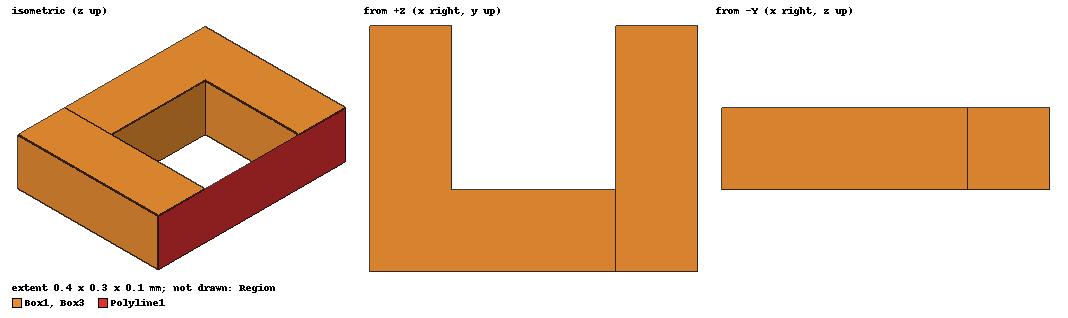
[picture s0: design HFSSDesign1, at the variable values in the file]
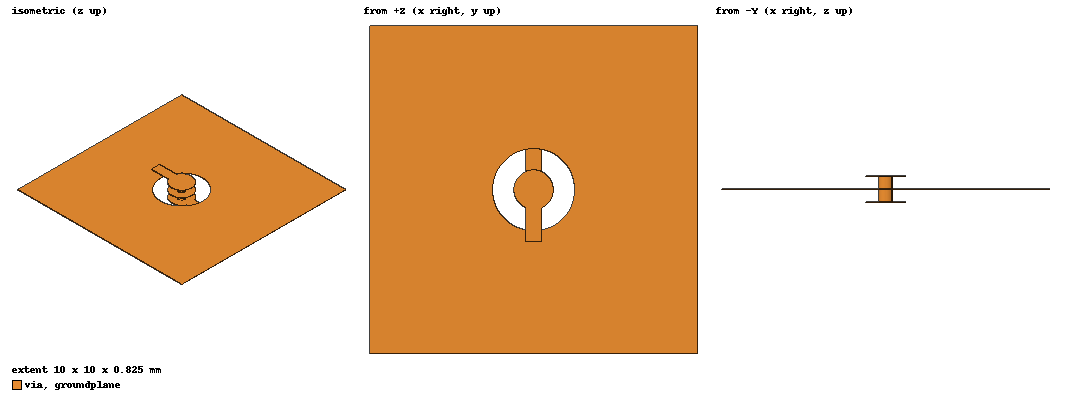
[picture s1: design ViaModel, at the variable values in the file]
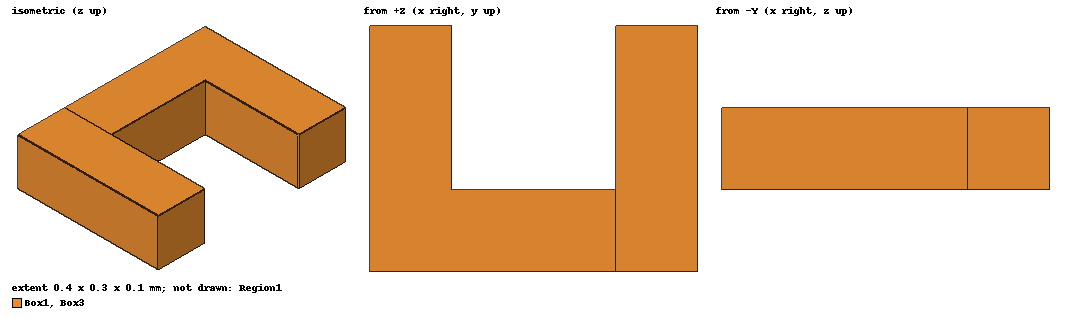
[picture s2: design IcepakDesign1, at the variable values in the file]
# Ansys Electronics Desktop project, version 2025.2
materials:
  vacuum: permittivity=1
  copper: permeability=0.999991 conductivity=58000000 thermal_conductivity=400 mass_density=8933 specific_heat=385 youngs_modulus=120000000000 poissons_ratio=0.38 thermal_expansion_coefficient=1.77e-05
  silver: permeability=0.99998 conductivity=61000000 thermal_conductivity=429 mass_density=10500 specific_heat=235 youngs_modulus=77000000000 poissons_ratio=0.37 thermal_expansion_coefficient=1.89e-05
  FR4_epoxy: permittivity=4.4 dielectric_loss_tangent=0.02 thermal_conductivity=0.294 mass_density=1900 specific_heat=1150 youngs_modulus=11000000000 poissons_ratio=0.28 thermal_expansion_coefficient=1.5e-05
  Al-Extruded: thermal_conductivity=205 mass_density=2800 specific_heat=900 youngs_modulus=69000000000 poissons_ratio=0.33 thermal_expansion_coefficient=2.277e-06 thermal_material_type=Solid
  air: permittivity=1.0006 permeability=1.0000004 thermal_conductivity=0.0261 mass_density=1.1614 specific_heat=1005 thermal_expansion_coefficient=0.00333 thermal_material_type=Fluid diffusivity=2.88e-05 molecular_mass=0.028966 viscosity=1.84e-05 material_refractive_index=1.000293
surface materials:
  Steel-oxidised-surface: surface_emissivity=0.8

design HFSSDesign1 (HFSS, HFSS Terminal Network, model units mm)
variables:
  test = 0mm
  coil_groups_0__count_mode = 1
  coil_shape_inner_margin_x = 1mm
  coil_spacing_tx_vertical_center_gap_mm = 2mm
  ferrite_present = 1
  tx_region_z_parts_dd_z_mm = 3mm
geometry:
  Box1 [copper] = box(corner=(-0.3mm, -0.2mm, 0mm), size=(0.1mm, 0.3mm, 0.1mm))
  Box2 = box(corner=(-0.2mm, -0.1mm, 0mm), size=(0.2mm, -0.1mm, 0.1mm))
  Box1.unite(Box2)
  Region [vacuum] = region(percentage_offset=300 on all sides)
  Box3 [copper] = box(corner=(0mm, -0.2mm, 0mm), size=(0.1mm, 0.3mm, 0.1mm))
  Polyline1 = polyline(y=0.1mm, xz in mm: (-0.3, 0.1) (-0.3, 0) (0.1, 0) (0.1, 0.1) (-0.3, 0.1), closed, covered)
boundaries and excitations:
  Box3_T1: Terminal port=1 Faces=Box3.face(+y) TerminalResistance=50ohm
  1: Lumped Port Faces=Polyline1.face LumpedPortType=Terminal Impedance=50ohm
  reference conductors: Box1
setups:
  Setup1: HfssDriven Frequency=0.5MHz MaxDeltaS=0.5 MaximumPasses=3 MinimumPasses=3 MinimumConvergedPasses=3 PercentRefinement=75 BasisOrder=1 PortAccuracy=2 DrivenSolverType="Direct Solver"
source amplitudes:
  1:1: 1V 0deg
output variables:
  k_ratio = 1
  Lrx_uH = 1uH
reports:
  Terminal Z Parameter Table1: im(Zt(Box3_T1,Box3_T1)) vs Freq on Setup1 : LastAdaptive
  Variables Table1: Freq, test vs Freq on Setup1 : LastAdaptive

design Maxwell3DDesign1 (Maxwell 3D, AC Magnetic, model units mm)
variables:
  maxwell3dtest = 1000mm
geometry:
  Box1 [silver] = box(corner=(-0.25mm, 0mm, 0mm), size=(0.5mm, 0.15mm, 0.1mm))
  Region [vacuum] = region(percentage_offset: +X=0, -X=0, +Y=150, -Y=150, +Z=150, -Z=150)
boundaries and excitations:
  Radiation1: Radiation Faces=Region.face(all 6)
  CoilTerminal1: Coil Terminal Faces=Box1.face(+x) Conductor_number=1 Winding=Winding1 Point_out_of_terminal=false
  CoilTerminal2: Coil Terminal Faces=Box1.face(-x) Conductor_number=1 Winding=Winding1 Point_out_of_terminal=true
  Winding1: Winding Group Type=Current IsSolid=true Current=1A ParallelBranchesNum=1 Phase=0deg
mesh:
  initial mesh: GlobalCurvilinear{Apply}
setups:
  Setup1: AC Magnetic MaximumPasses=3 MinimumPasses=3 MinimumConvergedPasses=3 PercentRefinement=30 SolveFieldOnly PercentError=3 NonLinearResidual=0.0001 Frequency=1kHz LossAdaptiveCtrl=0.5
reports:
  Winding Table1: FluxLinkage(Winding1), InducedVoltage(Winding1), InputCurrent(Winding1) vs Freq on Setup1 : LastAdaptive
  Loss Table1: CoreLoss, PerWindingSolidLoss(Winding1), SolidLoss, StrandedLoss, StrandedLossAC, StrandedLossR vs Freq on Setup1 : LastAdaptive

design ViaModel (Q3D Extractor, model units mm)
options: Background_Material=FR4_epoxy SParamCalcMethod=EqTransLine
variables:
  viarad = 0.2mm
  padrad = 0.6mm
  Q3Dteest = 2948mm
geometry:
  via [copper] = cylinder(axis=Z, base_centre=(0mm, 0mm, 0mm), radius=viarad, height=0.8mm)
  pad1 = cylinder(axis=Z, base_centre=(0mm, 0mm, 0mm), radius=padrad, height=0.025mm)
  pad1_1, pad1_2 = pad1.duplicate_along_line(step=(0mm, 0mm, 0.4mm), total=3)
  Box1 = box(corner=(-0.25mm, 0.4mm, 0mm), size=(0.5mm, 1.2mm, 0.025mm))
  Box2 = box(corner=(-0.25mm, -0.4mm, 0.8mm), size=(0.5mm, -1.2mm, 0.025mm))
  via.unite(pad1, pad1_1, pad1_2, Box1, Box2)
  groundplane [copper] = box(corner=(-5mm, -5mm, 0.4mm), size=(10mm, 10mm, 0.025mm))
  hole = cylinder(axis=Z, base_centre=(0mm, 0mm, 0.4mm), radius=1.25mm, height=0.025mm)
  groundplane.subtract(hole)
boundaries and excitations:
  via: SignalNet Objects=via
  groundplane: SignalNet Objects=groundplane
  Source1: Source Faces=via.face(at (0, -1.6, 0.8125)) TerminalType=ConstantVoltage Net=via
  Sink1: Sink Faces=via.face(at (0, 1.6, 0.0125)) TerminalType=ConstantVoltage Net=via
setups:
  Setup1: Matrix AdaptiveFreq=100MHz SaveFields Cap{MaxPass=2 MinPass=1 MinConvPass=1 PerError=1 PerRefine=30 AutoIncreaseAccuracy AccuracyLevel=Normal Solver_Type=Iterative} AC{MaxPass=10 MinPass=1 MinConvPass=1 PerError=1 PerRefine=30 ACRLSolverType=ACA} ErrorValue=0.1
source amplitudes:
  via:Source1: AC R/L Fields 1A 0deg
  groundplane: CG Fields 0V 0deg
  via: CG Fields 1V 0deg
  via:Source1: DC R/L Fields 1A 0deg
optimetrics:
  ParametricSetup1: Parametric Sim._Setups=[Setup1]
    sweep padrad: LIN 0.5mm 1.1mm 0.1mm
    table edits: del(1mm) del(0.8mm) del(0.6mm)
    calculate via_cap on Setup1 : LastAdaptive at Freq 100MHz to 0
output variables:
  via_cap = C(via,via)
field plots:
  SmoothQ1: Q over via.face(all 17) on Setup1 : LastAdaptive at Freq=0.1GHz Phase=0deg
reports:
  XY Plot 2: C(via,via) vs padrad on Setup1 : LastAdaptive [viarad=all Freq=all]
  XY Plot 1: C(via,via) vs viarad on Setup1 : LastAdaptive [padrad=all Freq=all]

design IcepakDesign1 (Icepak, SteadyState TemperatureAndFlow, model units mm)
options: Default_Fluid_Material=air Default_Solid_Material=Al-Extruded Default_Surface_Material=Steel-oxidised-surface AmbientTemperature=20cel AmbientPressure=0n_per_meter_sq AmbientRadiationTemperature=20cel Gravity_Vector_CS_ID=Global Gravity_Vector_Axis=Z Positive=false EnableTransitionTemplate Altitude=0meter OperatingPressure=101325n_per_meter_sq OperatingDensity=1.225kg_per_m3
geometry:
  Box1 [copper] = box(corner=(-0.3mm, -0.2mm, 0mm), size=(0.1mm, 0.3mm, 0.1mm))
  Box2 = box(corner=(-0.2mm, -0.1mm, 0mm), size=(0.2mm, -0.1mm, 0.1mm))
  Box1.unite(Box2)
  Box3 [copper] = box(corner=(0mm, -0.2mm, 0mm), size=(0.1mm, 0.3mm, 0.1mm))
  Region1 [air] = region(absolute_offset: +X=0.4mm, -X=0.4mm, +Y=0.1mm, -Y=0.1mm, +Z=0.1mm, -Z=0.1mm)
  coordinate_system RelativeCS1 = origin=(-0.2mm, -0.1mm, 0.1mm) x=(1mm, 0mm, 0mm) y=(0mm, 1mm, 0mm)
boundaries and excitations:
  EMLoss1: EM Loss Objects=[Box1, Box3] Project="This Project*" Product=ElectronicsDesktop Design=HFSSDesign1 Params{coil_groups_0__count_mode=1 coil_shape_inner_margin_x=1mm coil_spacing_tx_vertical_center_gap_mm=2mm ferrite_present=1 test=0mm tx_region_z_parts_dd_z_mm=3mm} ForceSourceToSolve PreservePartnerSoln PathRelativeTo=SourceProduct Intrinsics(500kHz) Q3DEMLossType=DCVolOrACSurfLoss SurfaceOnly(34, 63) LossMultiplier=1
  Opening1: Opening Faces=Region1.face(+x) Temperature=AmbientTemp External_Rad._Temperature=AmbientRadTemp Inlet_Type=Pressure Total_Pressure=AmbientPressure
  Opening2: Opening Faces=Region1.face(-x) Temperature=AmbientTemp External_Rad._Temperature=AmbientRadTemp Inlet_Type=Velocity Static_Pressure=AmbientPressure X_Velocity=2m_per_sec Y_Velocity=0m_per_sec Z_Velocity=0m_per_sec
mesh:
  Global:  MeshMethod=MesherHD ComputeGap MeshRegionResolution=3 MinGapX=1mm MinGapY=1mm MinGapZ=1mm Objects=Region1 FacetLevel=3 ProximitySizeFunction CurvatureSizeFunction OptimizePCBMesh
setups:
  Setup1: IcepakSteadyState Flow_Regime=Laminar Include_Temperature=true Include_Flow=true Convergence_Criteria_-_Flow=0.001 Convergence_Criteria_-_Energy=1e-12 GPU_Convergence_Criteria_-_Flow=0.001 GPU_Convergence_Criteria_-_Energy=1e-05 disabled Radiation_Model=Off Under-relaxation_-_Pressure=0.3 Under-relaxation_-_Momentum=0.7 Under-relaxation_-_Temperature=1 Under-relaxation_-_Body_Force=1 Discretization_Scheme_-_Pressure=Standard Discretization_Scheme_-_Momentum=First Discretization_Scheme_-_Temperature=First Convergence_Criteria_-_Max_Iterations=100
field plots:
  Temperature1: Temperature over a plane on Setup1 : SteadyState
